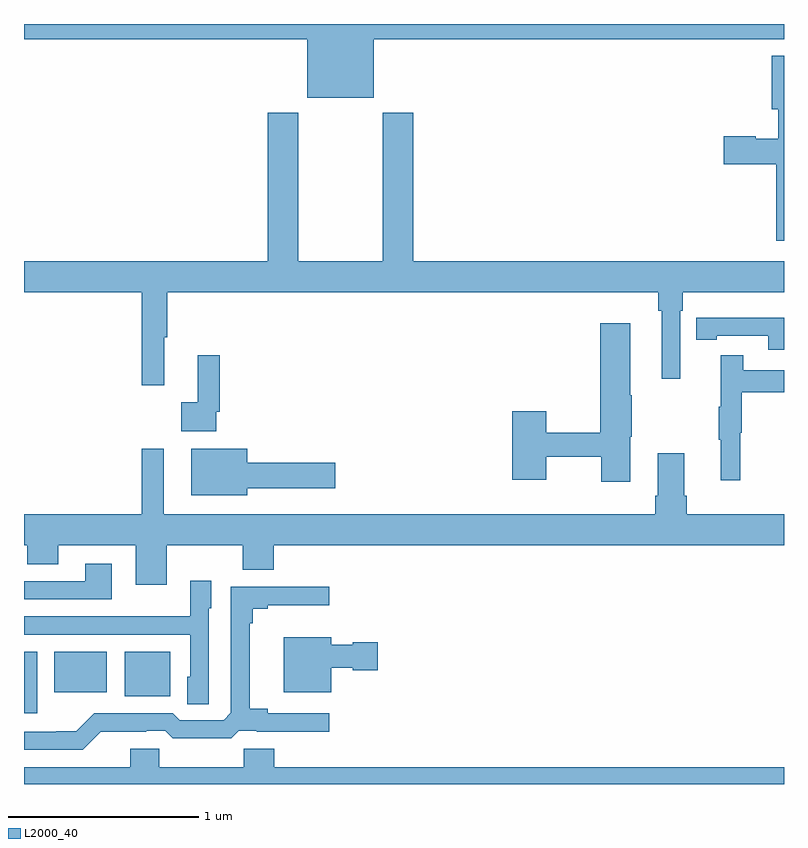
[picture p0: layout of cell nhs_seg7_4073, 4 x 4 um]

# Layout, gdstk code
import gdstk
lib = gdstk.Library(unit=1e-6, precision=1e-09)
def R(c, l, rs):  # rectangles x0, y0, x1, y1
    for r in rs: c.add(gdstk.rectangle(r[:2], r[2:], *l))
def P(c, l, *ps):  # polygons
    for p in ps: c.add(gdstk.Polygon(p, *l))
L2000_40 = (2000, 40)

nhs_seg7_4073 = lib.new_cell('nhs_seg7_4073')
R(nhs_seg7_4073, L2000_40, [(369,1026.372,369.069,1026.696), (369.53,1026.461,369.769,1026.697), (369.158,1026.482,369.436,1026.697)])
P(nhs_seg7_4073, L2000_40, [(370.84,1029.92),(373,1029.92),(373,1030),(369,1030),(369,1029.92),(370.49,1029.92),(370.49,1029.611),(370.84,1029.611)],
  [(373,1029.832),(372.935,1029.832),(372.935,1029.552),(372.971,1029.552),(372.971,1029.397),(372.851,1029.397),(372.851,1029.41),(372.684,1029.41),(372.684,1029.263),(372.959,1029.263),(372.959,1028.859),(373,1028.859)],
  [(369.737,1028.352),(369.755,1028.352),(369.755,1028.588),(372.337,1028.588),(372.337,1028.492),(372.356,1028.492),(372.356,1028.132),(372.453,1028.132),(372.453,1028.492),(372.467,1028.492),(372.467,1028.588),(373,1028.588),(373,1028.752),(371.048,1028.752),(371.048,1029.532),(370.888,1029.532),(370.888,1028.752),(370.443,1028.752),(370.443,1029.532),(370.283,1029.532),(370.283,1028.752),(369,1028.752),(369,1028.588),(369.619,1028.588),(369.619,1028.1),(369.737,1028.1)],
  [(373,1028.455),(372.646,1028.455),(372.646,1028.454),(372.538,1028.454),(372.538,1028.338),(372.646,1028.338),(372.646,1028.358),(372.918,1028.358),(372.918,1028.286),(373,1028.286)],
  [(372.19,1027.827),(372.198,1027.827),(372.198,1028.045),(372.19,1028.045),(372.19,1028.425),(372.032,1028.425),(372.032,1027.85),(371.748,1027.85),(371.748,1027.963),(371.57,1027.963),(371.57,1027.602),(371.748,1027.602),(371.748,1027.722),(372.037,1027.722),(372.037,1027.59),(372.19,1027.59)],
  [(372.77,1027.848),(372.778,1027.848),(372.778,1028.062),(373,1028.062),(373,1028.178),(372.785,1028.178),(372.785,1028.257),(372.668,1028.257),(372.668,1027.985),(372.657,1027.985),(372.657,1027.811),(372.668,1027.811),(372.668,1027.599),(372.77,1027.599)],
  [(370.011,1027.96),(370.031,1027.96),(370.031,1028.257),(369.914,1028.257),(369.914,1028.009),(369.828,1028.009),(369.828,1027.856),(370.011,1027.856)],
  [(369.751,1027.256),(370.151,1027.256),(370.151,1027.128),(370.315,1027.128),(370.315,1027.256),(373,1027.256),(373,1027.42),(372.488,1027.42),(372.488,1027.516),(372.475,1027.516),(372.475,1027.741),(372.335,1027.741),(372.335,1027.516),(372.323,1027.516),(372.323,1027.42),(369.736,1027.42),(369.736,1027.765),(369.619,1027.765),(369.619,1027.42),(369,1027.42),(369,1027.256),(369.017,1027.256),(369.017,1027.157),(369.181,1027.157),(369.181,1027.256),(369.587,1027.256),(369.587,1027.05),(369.751,1027.05)],
  [(370.174,1027.556),(370.639,1027.556),(370.639,1027.691),(370.174,1027.691),(370.174,1027.765),(369.881,1027.765),(369.881,1027.52),(370.174,1027.52)],
  [(369.463,1027.159),(369.323,1027.159),(369.323,1027.068),(369,1027.068),(369,1026.972),(369.463,1026.972)],
  [(369.972,1026.924),(369.985,1026.924),(369.985,1027.069),(369.876,1027.069),(369.876,1026.883),(369.559,1026.883),(369.559,1026.882),(369,1026.882),(369,1026.786),(369.876,1026.786),(369.876,1026.564),(369.86,1026.564),(369.86,1026.421),(369.972,1026.421)],
  [(369.404,1026.275),(369.644,1026.275),(369.644,1026.279),(369.744,1026.279),(369.784,1026.24),(370.091,1026.24),(370.131,1026.279),(370.225,1026.279),(370.225,1026.275),(370.606,1026.275),(370.606,1026.372),(370.282,1026.372),(370.282,1026.395),(370.187,1026.395),(370.187,1026.845),(370.205,1026.845),(370.205,1026.922),(370.282,1026.922),(370.282,1026.941),(370.606,1026.941),(370.606,1027.038),(370.089,1027.038),(370.089,1026.375),(370.05,1026.336),(369.819,1026.336),(369.783,1026.372),(369.369,1026.372),(369.275,1026.278),(369.17,1026.278),(369.17,1026.276),(369,1026.276),(369,1026.18),(369.309,1026.18)],
  [(370.618,1026.611),(370.731,1026.611),(370.731,1026.599),(370.861,1026.599),(370.861,1026.746),(370.731,1026.746),(370.731,1026.733),(370.618,1026.733),(370.618,1026.772),(370.367,1026.772),(370.367,1026.482),(370.618,1026.482)],
  [(373,1026.088),(370.316,1026.088),(370.316,1026.186),(370.156,1026.186),(370.156,1026.088),(369.711,1026.088),(369.711,1026.186),(369.56,1026.186),(369.56,1026.088),(369,1026.088),(369,1026),(373,1026)])

lib.write_gds('nhs_seg7_4073.gds')
